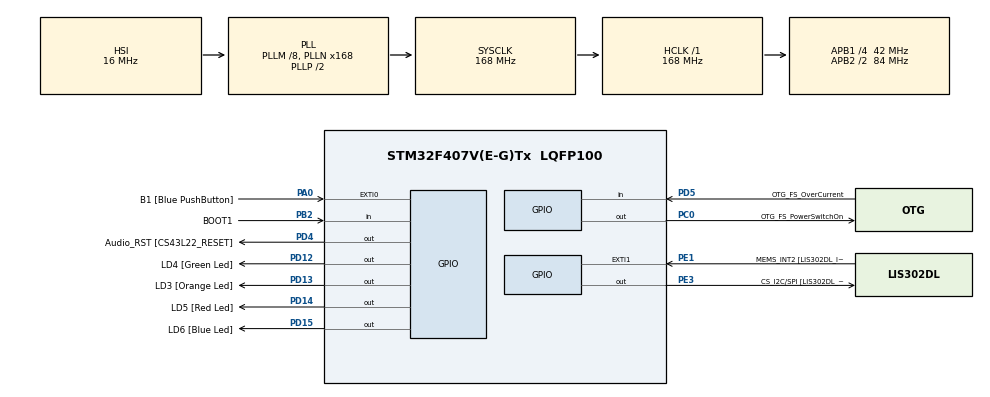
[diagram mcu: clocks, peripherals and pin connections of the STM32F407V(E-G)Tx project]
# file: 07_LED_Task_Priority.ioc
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Mcu.Family=STM32F4
Mcu.Name=STM32F407V(E-G)Tx
Mcu.Package=LQFP100
NVIC.EXTI0_IRQn=true\:5\:0\:true\:false\:true\:true\:true\:true
NVIC.PriorityGroup=NVIC_PRIORITYGROUP_4
NVIC.TIM6_DAC_IRQn=true\:15\:0\:false\:false\:true\:false\:true\:true
NVIC.TimeBase=TIM6_DAC_IRQn
NVIC.TimeBaseIP=TIM6
PA0-WKUP.GPIO_Label=B1 [Blue PushButton]
PA0-WKUP.GPIO_ModeDefaultEXTI=GPIO_MODE_IT_FALLING
PA0-WKUP.Signal=GPXTI0
PA10.GPIO_Label=OTG_FS_ID
PA10.GPIO_Mode=GPIO_MODE_AF_PP
PA10.GPIO_PuPd=GPIO_NOPULL
PA10.GPIO_Speed=GPIO_SPEED_FREQ_LOW
PA10.Signal=USB_OTG_FS_ID
PA11.GPIO_Label=OTG_FS_DM
PA11.GPIO_Mode=GPIO_MODE_AF_PP
PA11.GPIO_PuPd=GPIO_NOPULL
PA11.GPIO_Speed=GPIO_SPEED_FREQ_LOW
PA11.Signal=USB_OTG_FS_DM
PA12.GPIO_Label=OTG_FS_DP
PA12.GPIO_Mode=GPIO_MODE_AF_PP
PA12.GPIO_PuPd=GPIO_NOPULL
PA12.GPIO_Speed=GPIO_SPEED_FREQ_LOW
PA12.Signal=USB_OTG_FS_DP
PA13.GPIO_Label=SWDIO
PA13.Signal=SYS_JTMS-SWDIO
PA14.GPIO_Label=SWCLK
PA14.Signal=SYS_JTCK-SWCLK
PA4.GPIO_Label=I2S3_WS [CS43L22_LRCK]
PA4.GPIO_Mode=GPIO_MODE_AF_PP
PA4.GPIO_PuPd=GPIO_NOPULL
PA4.GPIO_Speed=GPIO_SPEED_FREQ_LOW
PA4.Signal=I2S3_WS
PA5.GPIO_Label=SPI1_SCK [LIS302DL_SCL/SPC]
PA5.GPIO_Mode=GPIO_MODE_AF_PP
PA5.GPIO_PuPd=GPIO_NOPULL
PA5.GPIO_Speed=GPIO_SPEED_FREQ_LOW
PA5.Signal=SPI1_SCK
PA6.GPIO_Label=SPI1_MISO [LIS302DL_SDO]
PA6.GPIO_Mode=GPIO_MODE_AF_PP
PA6.GPIO_PuPd=GPIO_NOPULL
PA6.GPIO_Speed=GPIO_SPEED_FREQ_LOW
PA6.Signal=SPI1_MISO
PA7.GPIO_Label=SPI1_MOSI [LIS302DL_SDA/SDI/SDO]
PA7.GPIO_Mode=GPIO_MODE_AF_PP
PA7.GPIO_PuPd=GPIO_NOPULL
PA7.GPIO_Speed=GPIO_SPEED_FREQ_LOW
PA7.Signal=SPI1_MOSI
PA9.GPIO_Label=VBUS_FS
PA9.GPIO_Mode=GPIO_MODE_INPUT
PA9.GPIO_PuPd=GPIO_NOPULL
PA9.Signal=USB_OTG_FS_VBUS
PB10.GPIO_Label=CLK_IN [MP45DT02_CLK]
PB10.GPIO_Mode=GPIO_MODE_AF_PP
PB10.GPIO_PuPd=GPIO_NOPULL
PB10.GPIO_Speed=GPIO_SPEED_FREQ_LOW
PB10.Signal=I2S2_CK
PB2.GPIO_Label=BOOT1
PB2.GPIO_Mode=GPIO_MODE_INPUT
PB2.GPIO_PuPd=GPIO_NOPULL
PB2.Signal=GPIO_Input
PB3.GPIO_Label=SWO
PB3.Signal=SYS_JTDO-SWO
PB6.GPIO_Label=Audio_SCL [CS43L22_SCL]
PB6.GPIO_Mode=GPIO_MODE_AF_OD
PB6.GPIO_PuPd=GPIO_NOPULL
PB6.GPIO_Speed=GPIO_SPEED_FREQ_LOW
PB6.Signal=I2C1_SCL
PB9.GPIO_Label=Audio_SDA [CS43L22_SDA]
PB9.GPIO_Mode=GPIO_MODE_AF_OD
PB9.GPIO_PuPd=GPIO_NOPULL
PB9.GPIO_Speed=GPIO_SPEED_FREQ_LOW
PB9.Signal=I2C1_SDA
PC0.GPIO_Label=OTG_FS_PowerSwitchOn
PC0.GPIO_PuPd=GPIO_NOPULL
PC0.GPIO_Speed=GPIO_SPEED_FREQ_LOW
PC0.PinState=GPIO_PIN_SET
PC0.Signal=GPIO_Output
PC10.GPIO_Label=I2S3_SCK [CS43L22_SCLK]
PC10.GPIO_Mode=GPIO_MODE_AF_PP
PC10.GPIO_PuPd=GPIO_NOPULL
PC10.GPIO_Speed=GPIO_SPEED_FREQ_LOW
PC10.Signal=I2S3_CK
PC12.GPIO_Label=I2S3_SD [CS43L22_SDIN]
PC12.GPIO_Mode=GPIO_MODE_AF_PP
PC12.GPIO_PuPd=GPIO_NOPULL
PC12.GPIO_Speed=GPIO_SPEED_FREQ_LOW
PC12.Signal=I2S3_SD
PC14-OSC32_IN.GPIO_Label=PC14-OSC32_IN
PC14-OSC32_IN.Signal=RCC_OSC32_IN
PC15-OSC32_OUT.GPIO_Label=PC15-OSC32_OUT
PC15-OSC32_OUT.Signal=RCC_OSC32_OUT
PC3.GPIO_Label=PDM_OUT [MP45DT02_DOUT]
PC3.GPIO_Mode=GPIO_MODE_AF_PP
PC3.GPIO_PuPd=GPIO_NOPULL
PC3.GPIO_Speed=GPIO_SPEED_FREQ_LOW
PC3.Signal=I2S2_SD
PC7.GPIO_Label=I2S3_MCK [CS43L22_MCLK]
PC7.GPIO_Mode=GPIO_MODE_AF_PP
PC7.GPIO_PuPd=GPIO_NOPULL
PC7.GPIO_Speed=GPIO_SPEED_FREQ_LOW
PC7.Signal=I2S3_MCK
PD12.GPIO_Label=LD4 [Green Led]
PD12.GPIO_PuPd=GPIO_NOPULL
PD12.GPIO_Speed=GPIO_SPEED_FREQ_LOW
PD12.Signal=GPIO_Output
PD13.GPIO_Label=LD3 [Orange Led]
PD13.GPIO_PuPd=GPIO_NOPULL
PD13.GPIO_Speed=GPIO_SPEED_FREQ_LOW
PD13.Signal=GPIO_Output
PD14.GPIO_Label=LD5 [Red Led]
PD14.GPIO_PuPd=GPIO_NOPULL
PD14.GPIO_Speed=GPIO_SPEED_FREQ_LOW
PD14.Signal=GPIO_Output
PD15.GPIO_Label=LD6 [Blue Led]
PD15.GPIO_PuPd=GPIO_NOPULL
PD15.GPIO_Speed=GPIO_SPEED_FREQ_LOW
PD15.Signal=GPIO_Output
PD4.GPIO_Label=Audio_RST [CS43L22_RESET]
PD4.GPIO_PuPd=GPIO_NOPULL
PD4.GPIO_Speed=GPIO_SPEED_FREQ_LOW
PD4.Signal=GPIO_Output
PD5.GPIO_Label=OTG_FS_OverCurrent
PD5.GPIO_Mode=GPIO_MODE_INPUT
PD5.GPIO_PuPd=GPIO_NOPULL
PD5.Signal=GPIO_Input
PE1.GPIO_Label=MEMS_INT2 [LIS302DL_INT2]
PE1.GPIO_ModeDefaultEXTI=GPIO_MODE_EVT_RISING
PE1.GPIO_PuPd=GPIO_NOPULL
PE1.Signal=GPXTI1
PE3.GPIO_Label=CS_I2C/SPI [LIS302DL_CS_I2C/SPI]
PE3.GPIO_PuPd=GPIO_NOPULL
PE3.GPIO_Speed=GPIO_SPEED_FREQ_LOW
PE3.Signal=GPIO_Output
PH0-OSC_IN.GPIO_Label=PH0-OSC_IN
PH0-OSC_IN.Signal=RCC_OSC_IN
PH1-OSC_OUT.GPIO_Label=PH1-OSC_OUT
PH1-OSC_OUT.Signal=RCC_OSC_OUT
ProjectManager.HeapSize=0x200
ProjectManager.StackSize=0x400
ProjectManager.TargetToolchain=STM32CubeIDE
RCC.48MHZClocksFreq_Value=48000000
RCC.AHBFreq_Value=168000000
RCC.APB1CLKDivider=RCC_HCLK_DIV4
RCC.APB1Freq_Value=42000000
RCC.APB1TimFreq_Value=84000000
RCC.APB2CLKDivider=RCC_HCLK_DIV2
RCC.APB2Freq_Value=84000000
RCC.APB2TimFreq_Value=168000000
RCC.CortexFreq_Value=168000000
RCC.HCLKFreq_Value=168000000
RCC.HSE_VALUE=8000000
RCC.HSI_VALUE=16000000
RCC.LSE_VALUE=32768
RCC.PLLM=8
RCC.PLLN=168
RCC.PLLQ=7
RCC.SYSCLKFreq_VALUE=168000000
RCC.SYSCLKSource=RCC_SYSCLKSOURCE_PLLCLK
RCC.VCOOutputFreq_Value=336000000
VP_SYS_VS_tim6.Mode=TIM6
board=STM32F407G-DISC1

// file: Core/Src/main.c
/* USER CODE BEGIN Header */
/**
  ******************************************************************************
  * @file           : main.c
  * @brief          : Main program body
  ******************************************************************************
  * @attention
  *
  * Copyright (c) 2023 STMicroelectronics.
  * All rights reserved.
  *
  * This software is licensed under terms that can be found in the LICENSE file
  * in the root directory of this software component.
  * If no LICENSE file comes with this software, it is provided AS-IS.
  *
  ******************************************************************************
  */
/* USER CODE END Header */
#include "main.h"

/* USER CODE BEGIN Includes */
#include "FreeRTOS.h"
#include "task.h"
/* USER CODE END Includes */

/* USER CODE BEGIN PV */
#define DWT_CTRL	(*(uint32_t volatile *)0xE0001000)

TaskHandle_t task1_handle;
TaskHandle_t task2_handle;

BaseType_t volatile button_status = 0;	// Will be set to 1 by the button interrupt handler whenever the button interrupt occurs
/* USER CODE END PV */

void SystemClock_Config(void);
static void MX_GPIO_Init(void);
/* USER CODE BEGIN PFP */
static void task1_handler(void *parameters);
static void task2_handler(void *parameters);
void switch_priority(void);
void button_interrupt_handler(void);

extern void SEGGER_UART_init(uint32_t);
extern void vInitPrioGroupValue(void);
/* USER CODE END PFP */

/* USER CODE BEGIN 0 */
TaskHandle_t volatile next_task_handle = NULL;	// Share variable
/* USER CODE END 0 */

int main(void)
{
  /* USER CODE BEGIN 1 */

  BaseType_t status;	// Stores the return value of xTaskCreate()
  /* USER CODE END 1 */

  /* MCU Configuration--------------------------------------------------------*/

  /* Reset of all peripherals, Initializes the Flash interface and the Systick. */
  HAL_Init();

  /* Configure the system clock */
  SystemClock_Config();

  /* Initialize all configured peripherals */
  MX_GPIO_Init();
  /* USER CODE BEGIN 2 */

  // Enable the cycle counter
  DWT_CTRL |= (0x1 << 0);	// Set SYCCNTENA bit of DWT_CYCCNT register

  // Initialize UART with desired baudrate for SEGGER SystemView with UART-based recording
  SEGGER_UART_init(500000);

  // Start the SEGGER SystemView recording of events
  SEGGER_SYSVIEW_Conf();
  //SEGGER_SYSVIEW_Start(); // This function will be called from ThirdParty/Rec/segger_uart.c

  // Create Task 1 and make sure that the task creation was successful
  status = xTaskCreate(task1_handler, "Task1", 200, NULL, 2, &task1_handle);
  configASSERT(status == pdPASS);

  // Create Task 2 and make sure that the task creation was successful
  status = xTaskCreate(task2_handler, "Task2", 200, NULL, 3, &task2_handle);
  configASSERT(status == pdPASS);

  // Start FreeRTOS scheduler
  // vTaskStartScheduler() never returns unless there's a problem launching scheduler
  vTaskStartScheduler();

  // This line will only be reached if the kernel could not be started because there was
  // not enough FreeRTOS heap to create the idle task or the timer task.
  /* USER CODE END 2 */

  /* Infinite loop */
  while (1)
  {

  }
}

void SystemClock_Config(void)
{
  RCC_OscInitTypeDef RCC_OscInitStruct = {0};
  RCC_ClkInitTypeDef RCC_ClkInitStruct = {0};

  /** Configure the main internal regulator output voltage
  */
  __HAL_RCC_PWR_CLK_ENABLE();
  __HAL_PWR_VOLTAGESCALING_CONFIG(PWR_REGULATOR_VOLTAGE_SCALE1);

  /** Initializes the RCC Oscillators according to the specified parameters
  * in the RCC_OscInitTypeDef structure.
  */
  RCC_OscInitStruct.OscillatorType = RCC_OSCILLATORTYPE_HSI;
  RCC_OscInitStruct.HSIState = RCC_HSI_ON;
  RCC_OscInitStruct.HSICalibrationValue = RCC_HSICALIBRATION_DEFAULT;
  RCC_OscInitStruct.PLL.PLLState = RCC_PLL_ON;
  RCC_OscInitStruct.PLL.PLLSource = RCC_PLLSOURCE_HSI;
  RCC_OscInitStruct.PLL.PLLM = 8;
  RCC_OscInitStruct.PLL.PLLN = 168;
  RCC_OscInitStruct.PLL.PLLP = RCC_PLLP_DIV2;
  RCC_OscInitStruct.PLL.PLLQ = 7;
  if (HAL_RCC_OscConfig(&RCC_OscInitStruct) != HAL_OK)
  {
    Error_Handler();
  }

  /** Initializes the CPU, AHB and APB buses clocks
  */
  RCC_ClkInitStruct.ClockType = RCC_CLOCKTYPE_HCLK|RCC_CLOCKTYPE_SYSCLK
                              |RCC_CLOCKTYPE_PCLK1|RCC_CLOCKTYPE_PCLK2;
  RCC_ClkInitStruct.SYSCLKSource = RCC_SYSCLKSOURCE_PLLCLK;
  RCC_ClkInitStruct.AHBCLKDivider = RCC_SYSCLK_DIV1;
  RCC_ClkInitStruct.APB1CLKDivider = RCC_HCLK_DIV4;
  RCC_ClkInitStruct.APB2CLKDivider = RCC_HCLK_DIV2;

  if (HAL_RCC_ClockConfig(&RCC_ClkInitStruct, FLASH_LATENCY_5) != HAL_OK)
  {
    Error_Handler();
  }
}

static void MX_GPIO_Init(void)
{
  GPIO_InitTypeDef GPIO_InitStruct = {0};

  /* GPIO Ports Clock Enable */
  __HAL_RCC_GPIOE_CLK_ENABLE();
  __HAL_RCC_GPIOC_CLK_ENABLE();
  __HAL_RCC_GPIOH_CLK_ENABLE();
  __HAL_RCC_GPIOA_CLK_ENABLE();
  __HAL_RCC_GPIOB_CLK_ENABLE();
  __HAL_RCC_GPIOD_CLK_ENABLE();

  /*Configure GPIO pin Output Level */
  HAL_GPIO_WritePin(CS_I2C_SPI_GPIO_Port, CS_I2C_SPI_Pin, GPIO_PIN_RESET);

  /*Configure GPIO pin Output Level */
  HAL_GPIO_WritePin(OTG_FS_PowerSwitchOn_GPIO_Port, OTG_FS_PowerSwitchOn_Pin, GPIO_PIN_SET);

  /*Configure GPIO pin Output Level */
  HAL_GPIO_WritePin(GPIOD, LD4_Pin|LD3_Pin|LD5_Pin|LD6_Pin
                          |Audio_RST_Pin, GPIO_PIN_RESET);

  /*Configure GPIO pin : CS_I2C_SPI_Pin */
  GPIO_InitStruct.Pin = CS_I2C_SPI_Pin;
  GPIO_InitStruct.Mode = GPIO_MODE_OUTPUT_PP;
  GPIO_InitStruct.Pull = GPIO_NOPULL;
  GPIO_InitStruct.Speed = GPIO_SPEED_FREQ_LOW;
  HAL_GPIO_Init(CS_I2C_SPI_GPIO_Port, &GPIO_InitStruct);

  /*Configure GPIO pin : OTG_FS_PowerSwitchOn_Pin */
  GPIO_InitStruct.Pin = OTG_FS_PowerSwitchOn_Pin;
  GPIO_InitStruct.Mode = GPIO_MODE_OUTPUT_PP;
  GPIO_InitStruct.Pull = GPIO_NOPULL;
  GPIO_InitStruct.Speed = GPIO_SPEED_FREQ_LOW;
  HAL_GPIO_Init(OTG_FS_PowerSwitchOn_GPIO_Port, &GPIO_InitStruct);

  /*Configure GPIO pin : PDM_OUT_Pin */
  GPIO_InitStruct.Pin = PDM_OUT_Pin;
  GPIO_InitStruct.Mode = GPIO_MODE_AF_PP;
  GPIO_InitStruct.Pull = GPIO_NOPULL;
  GPIO_InitStruct.Speed = GPIO_SPEED_FREQ_LOW;
  GPIO_InitStruct.Alternate = GPIO_AF5_SPI2;
  HAL_GPIO_Init(PDM_OUT_GPIO_Port, &GPIO_InitStruct);

  /*Configure GPIO pin : B1_Pin */
  GPIO_InitStruct.Pin = B1_Pin;
  GPIO_InitStruct.Mode = GPIO_MODE_IT_FALLING;
  GPIO_InitStruct.Pull = GPIO_NOPULL;
  HAL_GPIO_Init(B1_GPIO_Port, &GPIO_InitStruct);

  /*Configure GPIO pin : I2S3_WS_Pin */
  GPIO_InitStruct.Pin = I2S3_WS_Pin;
  GPIO_InitStruct.Mode = GPIO_MODE_AF_PP;
  GPIO_InitStruct.Pull = GPIO_NOPULL;
  GPIO_InitStruct.Speed = GPIO_SPEED_FREQ_LOW;
  GPIO_InitStruct.Alternate = GPIO_AF6_SPI3;
  HAL_GPIO_Init(I2S3_WS_GPIO_Port, &GPIO_InitStruct);

  /*Configure GPIO pins : SPI1_SCK_Pin SPI1_MISO_Pin SPI1_MOSI_Pin */
  GPIO_InitStruct.Pin = SPI1_SCK_Pin|SPI1_MISO_Pin|SPI1_MOSI_Pin;
  GPIO_InitStruct.Mode = GPIO_MODE_AF_PP;
  GPIO_InitStruct.Pull = GPIO_NOPULL;
  GPIO_InitStruct.Speed = GPIO_SPEED_FREQ_LOW;
  GPIO_InitStruct.Alternate = GPIO_AF5_SPI1;
  HAL_GPIO_Init(GPIOA, &GPIO_InitStruct);

  /*Configure GPIO pin : BOOT1_Pin */
  GPIO_InitStruct.Pin = BOOT1_Pin;
  GPIO_InitStruct.Mode = GPIO_MODE_INPUT;
  GPIO_InitStruct.Pull = GPIO_NOPULL;
  HAL_GPIO_Init(BOOT1_GPIO_Port, &GPIO_InitStruct);

  /*Configure GPIO pin : CLK_IN_Pin */
  GPIO_InitStruct.Pin = CLK_IN_Pin;
  GPIO_InitStruct.Mode = GPIO_MODE_AF_PP;
  GPIO_InitStruct.Pull = GPIO_NOPULL;
  GPIO_InitStruct.Speed = GPIO_SPEED_FREQ_LOW;
  GPIO_InitStruct.Alternate = GPIO_AF5_SPI2;
  HAL_GPIO_Init(CLK_IN_GPIO_Port, &GPIO_InitStruct);

  /*Configure GPIO pins : LD4_Pin LD3_Pin LD5_Pin LD6_Pin
                           Audio_RST_Pin */
  GPIO_InitStruct.Pin = LD4_Pin|LD3_Pin|LD5_Pin|LD6_Pin
                          |Audio_RST_Pin;
  GPIO_InitStruct.Mode = GPIO_MODE_OUTPUT_PP;
  GPIO_InitStruct.Pull = GPIO_NOPULL;
  GPIO_InitStruct.Speed = GPIO_SPEED_FREQ_LOW;
  HAL_GPIO_Init(GPIOD, &GPIO_InitStruct);

  /*Configure GPIO pins : I2S3_MCK_Pin I2S3_SCK_Pin I2S3_SD_Pin */
  GPIO_InitStruct.Pin = I2S3_MCK_Pin|I2S3_SCK_Pin|I2S3_SD_Pin;
  GPIO_InitStruct.Mode = GPIO_MODE_AF_PP;
  GPIO_InitStruct.Pull = GPIO_NOPULL;
  GPIO_InitStruct.Speed = GPIO_SPEED_FREQ_LOW;
  GPIO_InitStruct.Alternate = GPIO_AF6_SPI3;
  HAL_GPIO_Init(GPIOC, &GPIO_InitStruct);

  /*Configure GPIO pin : VBUS_FS_Pin */
  GPIO_InitStruct.Pin = VBUS_FS_Pin;
  GPIO_InitStruct.Mode = GPIO_MODE_INPUT;
  GPIO_InitStruct.Pull = GPIO_NOPULL;
  HAL_GPIO_Init(VBUS_FS_GPIO_Port, &GPIO_InitStruct);

  /*Configure GPIO pins : OTG_FS_ID_Pin OTG_FS_DM_Pin OTG_FS_DP_Pin */
  GPIO_InitStruct.Pin = OTG_FS_ID_Pin|OTG_FS_DM_Pin|OTG_FS_DP_Pin;
  GPIO_InitStruct.Mode = GPIO_MODE_AF_PP;
  GPIO_InitStruct.Pull = GPIO_NOPULL;
  GPIO_InitStruct.Speed = GPIO_SPEED_FREQ_LOW;
  GPIO_InitStruct.Alternate = GPIO_AF10_OTG_FS;
  HAL_GPIO_Init(GPIOA, &GPIO_InitStruct);

  /*Configure GPIO pin : OTG_FS_OverCurrent_Pin */
  GPIO_InitStruct.Pin = OTG_FS_OverCurrent_Pin;
  GPIO_InitStruct.Mode = GPIO_MODE_INPUT;
  GPIO_InitStruct.Pull = GPIO_NOPULL;
  HAL_GPIO_Init(OTG_FS_OverCurrent_GPIO_Port, &GPIO_InitStruct);

  /*Configure GPIO pins : Audio_SCL_Pin Audio_SDA_Pin */
  GPIO_InitStruct.Pin = Audio_SCL_Pin|Audio_SDA_Pin;
  GPIO_InitStruct.Mode = GPIO_MODE_AF_OD;
  GPIO_InitStruct.Pull = GPIO_NOPULL;
  GPIO_InitStruct.Speed = GPIO_SPEED_FREQ_LOW;
  GPIO_InitStruct.Alternate = GPIO_AF4_I2C1;
  HAL_GPIO_Init(GPIOB, &GPIO_InitStruct);

  /*Configure GPIO pin : MEMS_INT2_Pin */
  GPIO_InitStruct.Pin = MEMS_INT2_Pin;
  GPIO_InitStruct.Mode = GPIO_MODE_EVT_RISING;
  GPIO_InitStruct.Pull = GPIO_NOPULL;
  HAL_GPIO_Init(MEMS_INT2_GPIO_Port, &GPIO_InitStruct);

  /* EXTI interrupt init*/
  HAL_NVIC_SetPriority(EXTI0_IRQn, 5, 0);
  HAL_NVIC_EnableIRQ(EXTI0_IRQn);

}

/* USER CODE BEGIN 4 */

// Task 1 handler
static void task1_handler(void *parameters)
{
	while (1)
	{
		HAL_GPIO_TogglePin(GPIOD, LED_GREEN_PIN);
		HAL_Delay(100);
		switch_priority();
	}
}

// Task 2 handler
static void task2_handler(void *parameters)
{
	while (1)
	{
		HAL_GPIO_TogglePin(GPIOD, LED_ORANGE_PIN);
		HAL_Delay(100);
		switch_priority();
	}
}

// Switches the priorities of the two tasks upon button press
void switch_priority(void)
{
	UBaseType_t p1, p2;
	xTaskHandle t1, t2, curr;

	BaseType_t switch_priority = 0;

	portENTER_CRITICAL();	// Synchronization begins
	if (button_status)
	{
		button_status = 0;	// Access to shared variable
		switch_priority = 1;
	}
	portEXIT_CRITICAL();	// Synchronization ends

	if (switch_priority)
	{
		t1 = xTaskGetHandle("Task1");
		t2 = xTaskGetHandle("Task2");

		p1 = uxTaskPriorityGet(t1);
		p2 = uxTaskPriorityGet(t2);

		curr = xTaskGetCurrentTaskHandle();

		if (curr == t1)
		{
			vTaskPrioritySet(t1, p2);
			vTaskPrioritySet(t2, p1);
		}
		else
		{
			vTaskPrioritySet(t2, p1);
			vTaskPrioritySet(t1, p2);
		}
	}
}

// Button interrupt handler
void button_interrupt_handler(void)
{
	traceISR_ENTER(); // To monitor the entry of the ISR from the SEGGER SystemView
	button_status = 1;
	traceISR_EXIT();
}

/* USER CODE END 4 */

void HAL_TIM_PeriodElapsedCallback(TIM_HandleTypeDef *htim)
{
  if (htim->Instance == TIM6) {
    HAL_IncTick();
  }
}

void Error_Handler(void)
{
  __disable_irq();
  while (1)
  {
  }
}
